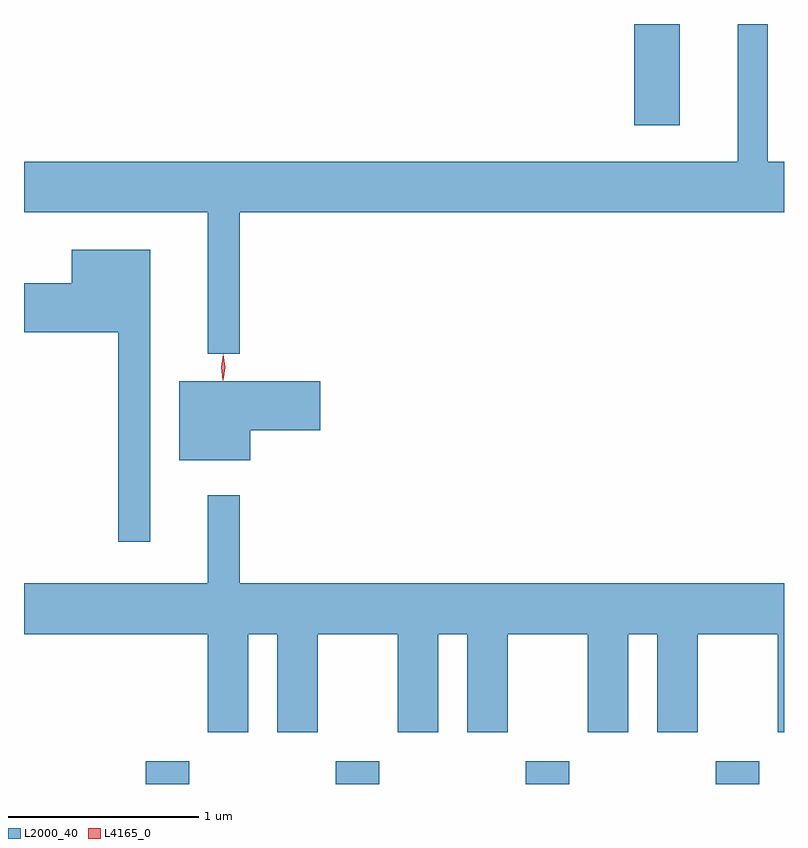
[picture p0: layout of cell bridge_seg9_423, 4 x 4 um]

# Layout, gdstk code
import gdstk
lib = gdstk.Library(unit=1e-6, precision=1e-09)
def R(c, l, rs):  # rectangles x0, y0, x1, y1
    for r in rs: c.add(gdstk.rectangle(r[:2], r[2:], *l))
def A(c, l, x, y, w, h, nx, ny, dx, dy):  # array of equal rectangles
    R(c, l, [(x+i*dx, y+j*dy, x+i*dx+w, y+j*dy+h) for i in range(nx) for j in range(ny)])
def P(c, l, *ps):  # polygons
    for p in ps: c.add(gdstk.Polygon(p, *l))
L2000_40 = (2000, 40)
L4165_0 = (4165, 0)

bridge_seg9_423 = lib.new_cell('bridge_seg9_423')
A(bridge_seg9_423, L2000_40, 396.246, 2075.388, 0.228, 0.121, 4, 1, 1, 0)
R(bridge_seg9_423, L2000_40, [(398.816,2078.856,399.054,2079.388)])
P(bridge_seg9_423, L2000_40, [(396.739,2078.396),(399.604,2078.396),(399.604,2078.664),(399.519,2078.664),(399.519,2079.388),(399.361,2079.388),(399.361,2078.664),(395.604,2078.664),(395.604,2078.396),(396.571,2078.396),(396.571,2077.653),(396.739,2077.653)],
  [(396.269,2078.199),(395.856,2078.199),(395.856,2078.024),(395.604,2078.024),(395.604,2077.766),(396.101,2077.766),(396.101,2076.663),(396.269,2076.663)],
  [(396.794,2077.251),(397.164,2077.251),(397.164,2077.509),(396.421,2077.509),(396.421,2077.091),(396.794,2077.091)],
  [(396.784,2076.176),(396.936,2076.176),(396.936,2075.661),(397.149,2075.661),(397.149,2076.176),(397.571,2076.176),(397.571,2075.661),(397.784,2075.661),(397.784,2076.176),(397.936,2076.176),(397.936,2075.661),(398.149,2075.661),(398.149,2076.176),(398.571,2076.176),(398.571,2075.661),(398.784,2075.661),(398.784,2076.176),(398.936,2076.176),(398.936,2075.661),(399.149,2075.661),(399.149,2076.176),(399.571,2076.176),(399.571,2075.661),(399.604,2075.661),(399.604,2076.444),(396.739,2076.444),(396.739,2076.908),(396.571,2076.908),(396.571,2076.444),(395.604,2076.444),(395.604,2076.176),(396.571,2076.176),(396.571,2075.661),(396.784,2075.661)])
P(bridge_seg9_423, L4165_0, [(396.651,2077.514),(396.651,2077.514),(396.642,2077.582),(396.652,2077.65),(396.653,2077.65),(396.653,2077.65),(396.662,2077.582),(396.652,2077.514)],
  [(396.651,2077.52),(396.65,2077.521),(396.642,2077.584),(396.652,2077.646),(396.653,2077.647),(396.653,2077.646),(396.662,2077.584),(396.651,2077.521)])

lib.write_gds('bridge_seg9_423.gds')
